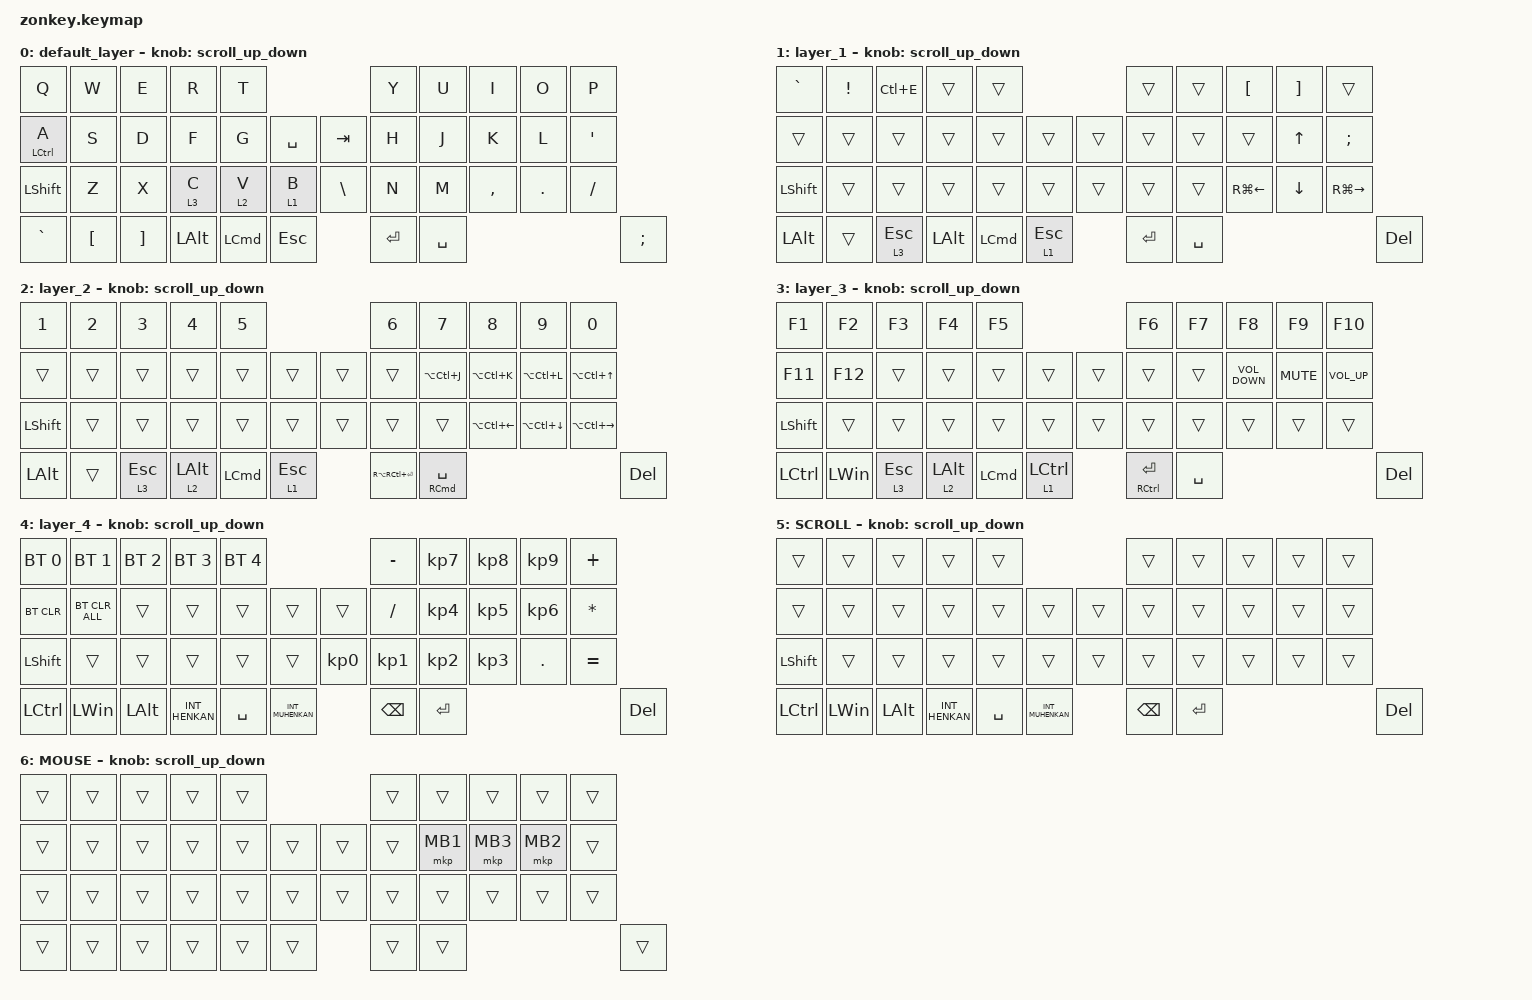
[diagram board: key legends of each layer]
#include <behaviors.dtsi>
#include <dt-bindings/zmk/bt.h>
#include <dt-bindings/zmk/keys.h>
#include <dt-bindings/zmk/pointing.h>

#define ZMK_POINTING_DEFAULT_SCRL_VAL 100
#define MOUSE 6
#define JP_DQUOTE       AT                // "

&mt {
    flavor = "balanced";
    quick-tap-ms = <0>;
};

/ {
    combos { compatible = "zmk,combos"; };

    macros {
        to_layer_0: to_layer_0 {
            compatible = "zmk,behavior-macro-one-param";
            #binding-cells = <1>;
            bindings = <&to 0 &macro_param_1to1 &kp MACRO_PLACEHOLDER>;
            label = "TO_LAYER_0";
        };
    };

    behaviors {
        lt_to_layer_0: lt_to_layer_0 {
            compatible = "zmk,behavior-hold-tap";
            label = "LAYER_TAP_TO_0";
            bindings = <&mo>, <&to_layer_0>;

            #binding-cells = <2>;
            tapping-term-ms = <200>;
        };

        scroll_up_down: behavior_sensor_rotate_mouse_wheel_up_down {
            compatible = "zmk,behavior-sensor-rotate";
            #sensor-binding-cells = <0>;
            bindings = <&msc SCRL_DOWN>, <&msc SCRL_UP>;

            tap-ms = <20>;
        };
    };

    keymap {
        compatible = "zmk,keymap";

        default_layer {
            // -----------------------------------------------------------------------------------------
            // |  Q  |  W  |  E  |  R  |  T  |                        |  Y  |  U   |  I  |  O  |  P  | 
            // |  A  |  S  |  D  |  F  |  G  |LS(LG(S))|        　 | - |  H  |  J   |  K  |  L  |  `  | 
            // |SHIFT|  Z  |  X  |  C  |  V  |  B  |           | ; |  N  |  M   |  ,  |  .  |  /  | 
            // | CTRL | WIN | ALT |HENKAN|SPACE|MUHENKAN|       | BS | ENT |      　　　　       | DEL |           

            bindings = <
&kp Q               &kp W             &kp E              &kp R         &kp T                                          &kp Y      &kp U      &kp I      &kp O    &kp P
&mt LEFT_CONTROL A  &kp S             &kp D              &kp F         &kp G             &kp SPACE     &kp TAB        &kp H      &kp J      &kp K      &kp L    &kp APOSTROPHE
&kp LEFT_SHIFT      &kp Z             &kp X              &lt 3 C       &lt 2 V           &lt 1 B       &kp BACKSLASH  &kp N      &kp M      &kp COMMA  &kp DOT  &kp SLASH
&kp GRAVE           &kp LEFT_BRACKET  &kp RIGHT_BRACKET  &kp LEFT_ALT  &kp LEFT_COMMAND  &kp ESCAPE                   &kp ENTER  &kp SPACE                                      &kp SEMICOLON
            >;

            sensor-bindings = <&scroll_up_down>;
        };

        layer_1 {
            // -----------------------------------------------------------------------------------------
            // | 半角/全角 |CAPS|     |     |     |                     |     |     |  -  |  ^  |  ¥  |
            // | TAB |     |     |     |     |     |              |    |     |     |     |  @  |  [  |
            // |SHIFT|     |     |     |     |     |            | 英数 | かな |     |     |     |  ]  |
            // | CTRL| WIN | ALT |HENKAN|SPACE|MUHENKAN|         | BS | ENT |                   | DEL |

            bindings = <
&kp GRAVE       &kp EXCLAMATION  &kp LC(E)     &trans        &trans                                    &trans     &trans     &kp LEFT_BRACKET    &kp RIGHT_BRACKET  &trans
&trans          &trans           &trans        &trans        &trans            &trans          &trans  &trans     &trans     &trans              &kp UP_ARROW       &kp SEMICOLON
&kp LEFT_SHIFT  &trans           &trans        &trans        &trans            &trans          &trans  &trans     &trans     &kp RG(LEFT_ARROW)  &kp DOWN_ARROW     &kp RG(RIGHT_ARROW)
&kp LEFT_ALT    &trans           &lt 3 ESCAPE  &kp LEFT_ALT  &kp LEFT_COMMAND  &lt 1 ESCAPE            &kp ENTER  &kp SPACE                                                              &kp DEL
            >;

            sensor-bindings = <&scroll_up_down>;
        };

        layer_2 {
            // -----------------------------------------------------------------------------------------
            // |  1  |  2  |  3  |  4  |  5  |                     |  6  |  7  |  8  |  9  |   0  |
            // |      |     |     |     |     |     |           |    |     |     |     |  ↑  |      |
            // |SHIFT|     |     |     |     |     |           |     |     |     |  ←  |  ↓  |  →  |
            // | CTRL| WIN | ALT |HENKAN|SPACE|MUHENKAN|         | BS | ENT |                   | DEL |

            bindings = <
&kp N1          &kp N2  &kp N3        &kp N4          &kp N5                                    &kp N6             &kp N7                   &kp N8                  &kp N9            &kp N0
&trans          &trans  &trans        &trans          &trans            &trans          &trans  &trans             &kp LA(LC(J))            &kp LA(LC(K))           &kp LA(LC(L))     &kp LA(LC(UP_ARROW))
&kp LEFT_SHIFT  &trans  &trans        &trans          &trans            &trans          &trans  &trans             &trans                   &kp LA(LC(LEFT_ARROW))  &kp LA(LC(DOWN))  &kp LA(LC(RIGHT))
&kp LEFT_ALT    &trans  &lt 3 ESCAPE  &lt 2 LEFT_ALT  &kp LEFT_COMMAND  &lt 1 ESCAPE            &kp RA(RC(ENTER))  &mt RIGHT_COMMAND SPACE                                                                  &kp DEL
            >;

            sensor-bindings = <&scroll_up_down>;
        };

        layer_3 {
            // -----------------------------------------------------------------------------------------
            // | F1  | F2  | F3  | F4  | F5  |                     | F6  | F7 | F8  | F9 | F10 |
            // | F11 | F12 |     |     |     |     |           |    |     |     |     |     |      |
            // |SHIFT|     |     |     |     |     |           |     |     |     |     |     |      |
            // | CTRL| WIN | ALT |HENKAN|SPACE|MUHENKAN|         | BS | ENT |                   | DEL |

            bindings = <
&kp F1          &kp F2        &kp F3        &kp F4          &kp F5                                          &kp F6                   &kp F7     &kp F8             &kp F9      &kp F10
&kp F11         &kp F12       &trans        &trans          &trans            &trans                &trans  &trans                   &trans     &kp C_VOLUME_DOWN  &kp K_MUTE  &kp C_VOLUME_UP
&kp LEFT_SHIFT  &trans        &trans        &trans          &trans            &trans                &trans  &trans                   &trans     &trans             &trans      &trans
&kp LCTRL       &kp LEFT_WIN  &lt 3 ESCAPE  &lt 2 LEFT_ALT  &kp LEFT_COMMAND  &lt 1 LEFT_CONTROL            &mt RIGHT_CONTROL ENTER  &kp SPACE                                                  &kp DEL
            >;

            sensor-bindings = <&scroll_up_down>;
        };

        layer_4 {
            // -----------------------------------------------------------------------------------------
            // | BT0 | BT1 | BT2 | BT3 | BT4 |                |  -  |  7  |  8  |  9  |  +  |
            // |BTCLR |     |     |     |     |     |           |  /  |  4  |  5  |  6  |  *  | 
            // |SHIFT|     |     |     |     |     |           |  0  |  1  |  2  |   3 |  .  |  =  |
            // | CTRL| WIN | ALT |HENKAN|SPACE|MUHENKAN|        | BS | ENT |                  | DEL |

            bindings = <
&bt BT_SEL 0    &bt BT_SEL 1    &bt BT_SEL 2  &bt BT_SEL 3    &bt BT_SEL 4                                       &kp MINUS        &kp KP_NUMBER_7  &kp KP_NUMBER_8  &kp KP_NUMBER_9  &kp PLUS
&bt BT_CLR      &bt BT_CLR_ALL  &trans        &trans          &trans        &trans              &trans           &kp SLASH        &kp KP_NUMBER_4  &kp KP_NUMBER_5  &kp KP_NUMBER_6  &kp ASTERISK
&kp LEFT_SHIFT  &trans          &trans        &trans          &trans        &trans              &kp KP_NUMBER_0  &kp KP_NUMBER_1  &kp KP_NUMBER_2  &kp KP_NUMBER_3  &kp PERIOD       &kp EQUAL
&kp LCTRL       &kp LEFT_WIN    &kp LEFT_ALT  &kp INT_HENKAN  &kp SPACE     &kp INT_MUHENKAN                     &kp BACKSPACE    &kp ENTER                                                        &kp DEL
            >;

            sensor-bindings = <&scroll_up_down>;
        };

        SCROLL {
            // -----------------------------------------------------------------------------------------
            // |      |     |     |     |     |                     |     |     |     |     |      |
            // |      |     |     |     |     |     |           |    |     |     |     |     |      |
            // |SHIFT|     |     |     |     |     |          |     |     |     |     |     |      |
            // | CTRL| WIN | ALT |HENKAN|SPACE|MUHENKAN|        | BS | ENT |                  | DEL |

            bindings = <
&trans          &trans        &trans        &trans          &trans                                 &trans         &trans     &trans  &trans  &trans
&trans          &trans        &trans        &trans          &trans     &trans              &trans  &trans         &trans     &trans  &trans  &trans
&kp LEFT_SHIFT  &trans        &trans        &trans          &trans     &trans              &trans  &trans         &trans     &trans  &trans  &trans
&kp LCTRL       &kp LEFT_WIN  &kp LEFT_ALT  &kp INT_HENKAN  &kp SPACE  &kp INT_MUHENKAN            &kp BACKSPACE  &kp ENTER                          &kp DEL
            >;

            sensor-bindings = <&scroll_up_down>;
        };

        MOUSE {
            bindings = <
&trans  &trans  &trans  &trans  &trans                    &trans  &trans    &trans    &trans    &trans
&trans  &trans  &trans  &trans  &trans  &trans    &trans  &trans  &mkp MB1  &mkp MB3  &mkp MB2  &trans
&trans  &trans  &trans  &trans  &trans  &trans    &trans  &trans  &trans    &trans    &trans    &trans
&trans  &trans  &trans  &trans  &trans  &trans            &trans  &trans                                &trans
            >;

            sensor-bindings = <&scroll_up_down>;
        };
    };
};
